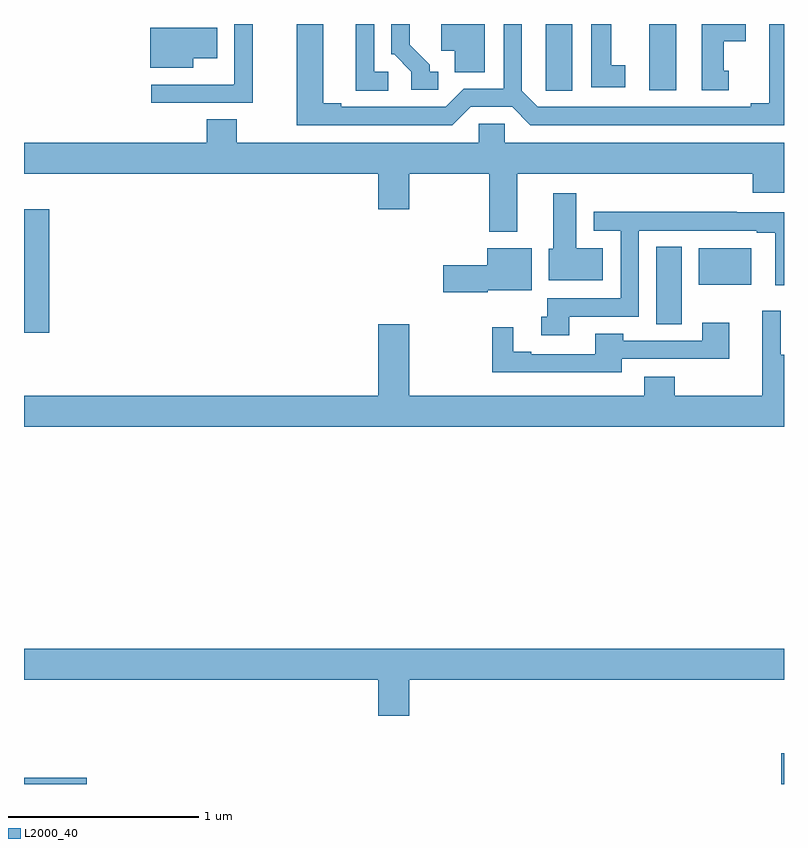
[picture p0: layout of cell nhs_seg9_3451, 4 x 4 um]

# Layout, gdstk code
import gdstk
lib = gdstk.Library(unit=1e-6, precision=1e-09)
def R(c, l, rs):  # rectangles x0, y0, x1, y1
    for r in rs: c.add(gdstk.rectangle(r[:2], r[2:], *l))
def P(c, l, *ps):  # polygons
    for p in ps: c.add(gdstk.Polygon(p, *l))
L2000_40 = (2000, 40)

nhs_seg9_3451 = lib.new_cell('nhs_seg9_3451')
R(nhs_seg9_3451, L2000_40, [(307,1234.5,307.33,1234.532), (310.986,1234.5,311,1234.662), (307,1236.876,307.133,1237.525), (310.328,1236.919,310.462,1237.328), (310.55,1237.127,310.828,1237.321), (310.292,1238.151,310.432,1238.5)])
P(nhs_seg9_3451, L2000_40, [(309.886,1238.5),(309.746,1238.5),(309.746,1238.257),(309.747,1238.257),(309.747,1238.149),(309.886,1238.149)],
  [(308.917,1238.25),(308.844,1238.25),(308.844,1238.5),(308.747,1238.5),(308.747,1238.149),(308.917,1238.149)],
  [(309.351,1238.064),(309.569,1238.064),(309.665,1237.968),(311,1237.968),(311,1238.5),(310.922,1238.5),(310.922,1238.084),(310.826,1238.084),(310.826,1238.064),(309.705,1238.064),(309.621,1238.148),(309.621,1238.5),(309.525,1238.5),(309.525,1238.16),(309.315,1238.16),(309.219,1238.064),(308.671,1238.064),(308.671,1238.084),(308.575,1238.084),(308.575,1238.5),(308.435,1238.5),(308.435,1237.968),(309.255,1237.968)],
  [(308.205,1238.5),(308.106,1238.5),(308.106,1238.182),(308.105,1238.182),(308.105,1238.181),(307.671,1238.181),(307.671,1238.085),(308.205,1238.085)],
  [(310.165,1238.282),(310.09,1238.282),(310.09,1238.5),(309.986,1238.5),(309.986,1238.166),(310.165,1238.166)],
  [(309.424,1238.5),(309.197,1238.5),(309.197,1238.36),(309.266,1238.36),(309.266,1238.245),(309.424,1238.245)],
  [(310.708,1238.253),(310.684,1238.253),(310.684,1238.408),(310.798,1238.408),(310.798,1238.5),(310.568,1238.5),(310.568,1238.151),(310.708,1238.151)],
  [(309.181,1238.25),(309.136,1238.25),(309.136,1238.285),(309.031,1238.39),(309.031,1238.5),(308.934,1238.5),(308.934,1238.34),(308.949,1238.34),(309.039,1238.25),(309.039,1238.154),(309.181,1238.154)],
  [(307.891,1238.321),(308.017,1238.321),(308.017,1238.479),(307.664,1238.479),(307.664,1238.27),(307.891,1238.27)],
  [(308.121,1238),(307.961,1238),(307.961,1237.876),(307,1237.876),(307,1237.712),(308.864,1237.712),(308.864,1237.524),(309.028,1237.524),(309.028,1237.712),(309.448,1237.712),(309.448,1237.407),(309.595,1237.407),(309.595,1237.712),(310.835,1237.712),(310.835,1237.613),(311,1237.613),(311,1237.876),(309.531,1237.876),(309.531,1237.974),(309.393,1237.974),(309.393,1237.876),(308.121,1237.876)],
  [(310.045,1237.321),(309.907,1237.321),(309.907,1237.609),(309.785,1237.609),(309.785,1237.317),(309.761,1237.317),(309.761,1237.151),(310.045,1237.151)],
  [(309.871,1236.96),(310.236,1236.96),(310.236,1237.413),(310.856,1237.413),(310.856,1237.401),(310.953,1237.401),(310.953,1237.125),(311,1237.125),(311,1237.509),(310.751,1237.509),(310.751,1237.511),(309.999,1237.511),(309.999,1237.413),(310.14,1237.413),(310.14,1237.056),(309.754,1237.056),(309.754,1236.959),(309.723,1236.959),(309.723,1236.861),(309.871,1236.861)],
  [(309.441,1237.1),(309.673,1237.1),(309.673,1237.321),(309.437,1237.321),(309.437,1237.23),(309.207,1237.23),(309.207,1237.088),(309.441,1237.088)],
  [(311,1236.759),(310.984,1236.759),(310.984,1236.991),(310.886,1236.991),(310.886,1236.544),(310.425,1236.544),(310.425,1236.643),(310.265,1236.643),(310.265,1236.544),(309.028,1236.544),(309.028,1236.919),(308.864,1236.919),(308.864,1236.544),(307,1236.544),(307,1236.38),(311,1236.38)],
  [(310.147,1236.738),(310.711,1236.738),(310.711,1236.928),(310.571,1236.928),(310.571,1236.834),(310.155,1236.834),(310.155,1236.871),(310.007,1236.871),(310.007,1236.762),(309.67,1236.762),(309.67,1236.775),(309.574,1236.775),(309.574,1236.904),(309.465,1236.904),(309.465,1236.666),(310.147,1236.666)],
  [(309.028,1235.048),(311,1235.048),(311,1235.212),(307,1235.212),(307,1235.048),(308.864,1235.048),(308.864,1234.86),(309.028,1234.86)])

lib.write_gds('nhs_seg9_3451.gds')
